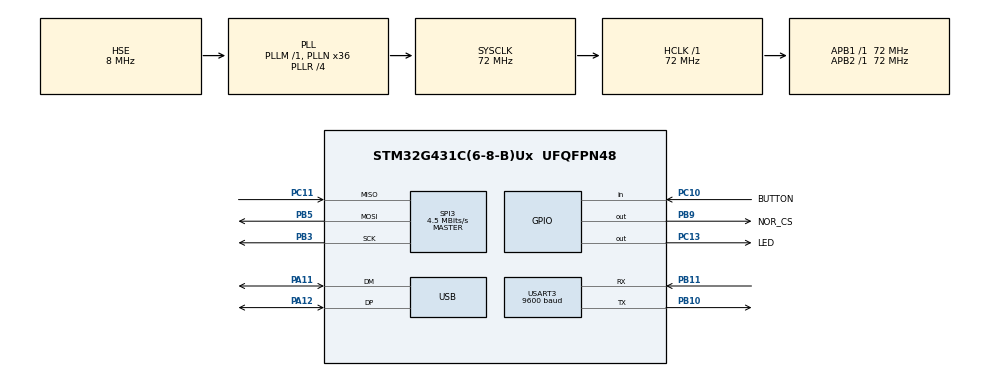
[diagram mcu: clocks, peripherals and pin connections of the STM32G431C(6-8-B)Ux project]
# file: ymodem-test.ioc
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Dma.Request0=SPI3_RX
Dma.Request1=SPI3_TX
Dma.Request2=USART3_RX
Dma.Request3=USART3_TX
Dma.SPI3_RX.0.Direction=DMA_PERIPH_TO_MEMORY
Dma.SPI3_RX.0.EventEnable=DISABLE
Dma.SPI3_RX.0.Instance=DMA1_Channel1
Dma.SPI3_RX.0.MemDataAlignment=DMA_MDATAALIGN_BYTE
Dma.SPI3_RX.0.MemInc=DMA_MINC_ENABLE
Dma.SPI3_RX.0.Mode=DMA_NORMAL
Dma.SPI3_RX.0.PeriphDataAlignment=DMA_PDATAALIGN_BYTE
Dma.SPI3_RX.0.PeriphInc=DMA_PINC_DISABLE
Dma.SPI3_RX.0.Polarity=HAL_DMAMUX_REQ_GEN_RISING
Dma.SPI3_RX.0.Priority=DMA_PRIORITY_LOW
Dma.SPI3_RX.0.RequestNumber=1
Dma.SPI3_RX.0.SignalID=NONE
Dma.SPI3_RX.0.SyncEnable=DISABLE
Dma.SPI3_RX.0.SyncPolarity=HAL_DMAMUX_SYNC_NO_EVENT
Dma.SPI3_RX.0.SyncRequestNumber=1
Dma.SPI3_RX.0.SyncSignalID=NONE
Dma.SPI3_TX.1.Direction=DMA_MEMORY_TO_PERIPH
Dma.SPI3_TX.1.EventEnable=DISABLE
Dma.SPI3_TX.1.Instance=DMA1_Channel2
Dma.SPI3_TX.1.MemDataAlignment=DMA_MDATAALIGN_BYTE
Dma.SPI3_TX.1.MemInc=DMA_MINC_ENABLE
Dma.SPI3_TX.1.Mode=DMA_NORMAL
Dma.SPI3_TX.1.PeriphDataAlignment=DMA_PDATAALIGN_BYTE
Dma.SPI3_TX.1.PeriphInc=DMA_PINC_DISABLE
Dma.SPI3_TX.1.Polarity=HAL_DMAMUX_REQ_GEN_RISING
Dma.SPI3_TX.1.Priority=DMA_PRIORITY_LOW
Dma.SPI3_TX.1.RequestNumber=1
Dma.SPI3_TX.1.SignalID=NONE
Dma.SPI3_TX.1.SyncEnable=DISABLE
Dma.SPI3_TX.1.SyncPolarity=HAL_DMAMUX_SYNC_NO_EVENT
Dma.SPI3_TX.1.SyncRequestNumber=1
Dma.SPI3_TX.1.SyncSignalID=NONE
Dma.USART3_RX.2.Direction=DMA_PERIPH_TO_MEMORY
Dma.USART3_RX.2.EventEnable=DISABLE
Dma.USART3_RX.2.Instance=DMA1_Channel3
Dma.USART3_RX.2.MemDataAlignment=DMA_MDATAALIGN_BYTE
Dma.USART3_RX.2.MemInc=DMA_MINC_ENABLE
Dma.USART3_RX.2.Mode=DMA_NORMAL
Dma.USART3_RX.2.PeriphDataAlignment=DMA_PDATAALIGN_BYTE
Dma.USART3_RX.2.PeriphInc=DMA_PINC_DISABLE
Dma.USART3_RX.2.Polarity=HAL_DMAMUX_REQ_GEN_RISING
Dma.USART3_RX.2.Priority=DMA_PRIORITY_LOW
Dma.USART3_RX.2.RequestNumber=1
Dma.USART3_RX.2.SignalID=NONE
Dma.USART3_RX.2.SyncEnable=DISABLE
Dma.USART3_RX.2.SyncPolarity=HAL_DMAMUX_SYNC_NO_EVENT
Dma.USART3_RX.2.SyncRequestNumber=1
Dma.USART3_RX.2.SyncSignalID=NONE
Dma.USART3_TX.3.Direction=DMA_MEMORY_TO_PERIPH
Dma.USART3_TX.3.EventEnable=DISABLE
Dma.USART3_TX.3.Instance=DMA1_Channel4
Dma.USART3_TX.3.MemDataAlignment=DMA_MDATAALIGN_BYTE
Dma.USART3_TX.3.MemInc=DMA_MINC_ENABLE
Dma.USART3_TX.3.Mode=DMA_NORMAL
Dma.USART3_TX.3.PeriphDataAlignment=DMA_PDATAALIGN_BYTE
Dma.USART3_TX.3.PeriphInc=DMA_PINC_DISABLE
Dma.USART3_TX.3.Polarity=HAL_DMAMUX_REQ_GEN_RISING
Dma.USART3_TX.3.Priority=DMA_PRIORITY_LOW
Dma.USART3_TX.3.RequestNumber=1
Dma.USART3_TX.3.SignalID=NONE
Dma.USART3_TX.3.SyncEnable=DISABLE
Dma.USART3_TX.3.SyncPolarity=HAL_DMAMUX_SYNC_NO_EVENT
Dma.USART3_TX.3.SyncRequestNumber=1
Dma.USART3_TX.3.SyncSignalID=NONE
Mcu.Family=STM32G4
Mcu.Name=STM32G431C(6-8-B)Ux
Mcu.Package=UFQFPN48
NVIC.DMA1_Channel1_IRQn=true\:5\:0\:true\:false\:true\:false\:true\:true
NVIC.DMA1_Channel2_IRQn=true\:5\:0\:true\:false\:true\:false\:true\:true
NVIC.DMA1_Channel3_IRQn=true\:5\:0\:true\:false\:true\:false\:true\:true
NVIC.DMA1_Channel4_IRQn=true\:5\:0\:true\:false\:true\:false\:true\:true
NVIC.PriorityGroup=NVIC_PRIORITYGROUP_4
NVIC.SPI3_IRQn=true\:5\:0\:true\:false\:true\:true\:true\:true
NVIC.TIM8_UP_IRQn=true\:15\:0\:false\:false\:true\:false\:true\:true
NVIC.TimeBase=TIM8_UP_IRQn
NVIC.TimeBaseIP=TIM8
NVIC.USART3_IRQn=true\:5\:0\:true\:false\:true\:true\:true\:true
NVIC.USB_HP_IRQn=true\:5\:0\:true\:false\:true\:true\:true\:true
NVIC.USB_LP_IRQn=true\:5\:0\:true\:false\:true\:true\:true\:true
PA11.Mode=Device
PA11.Signal=USB_DM
PA12.Mode=Device
PA12.Signal=USB_DP
PA13.Mode=Serial_Wire
PA13.Signal=SYS_JTMS-SWDIO
PA14.Mode=Serial_Wire
PA14.Signal=SYS_JTCK-SWCLK
PB10.Mode=Asynchronous
PB10.Signal=USART3_TX
PB11.Mode=Asynchronous
PB11.Signal=USART3_RX
PB3.Mode=Full_Duplex_Master
PB3.Signal=SPI3_SCK
PB5.Mode=Full_Duplex_Master
PB5.Signal=SPI3_MOSI
PB9.GPIO_Label=NOR_CS
PB9.GPIO_Speed=GPIO_SPEED_FREQ_VERY_HIGH
PB9.PinState=GPIO_PIN_SET
PB9.Signal=GPIO_Output
PC10.GPIO_Label=BUTTON
PC10.Signal=GPIO_Input
PC11.Mode=Full_Duplex_Master
PC11.Signal=SPI3_MISO
PC13.GPIO_Label=LED
PC13.Signal=GPIO_Output
PC14-OSC32_IN.Mode=LSE-External-Oscillator
PC14-OSC32_IN.Signal=RCC_OSC32_IN
PC15-OSC32_OUT.Mode=LSE-External-Oscillator
PC15-OSC32_OUT.Signal=RCC_OSC32_OUT
PF0-OSC_IN.Mode=HSE-External-Oscillator
PF0-OSC_IN.Signal=RCC_OSC_IN
PF1-OSC_OUT.Mode=HSE-External-Oscillator
PF1-OSC_OUT.Signal=RCC_OSC_OUT
ProjectManager.HeapSize=0x200
ProjectManager.StackSize=0x400
ProjectManager.TargetToolchain=STM32CubeIDE
RCC.ADC12Freq_Value=72000000
RCC.AHBFreq_Value=72000000
RCC.APB1Freq_Value=72000000
RCC.APB1TimFreq_Value=72000000
RCC.APB2Freq_Value=72000000
RCC.APB2TimFreq_Value=72000000
RCC.CortexFreq_Value=72000000
RCC.EXTERNAL_CLOCK_VALUE=12288000
RCC.HCLKFreq_Value=72000000
RCC.HSE_VALUE=8000000
RCC.HSI48_VALUE=48000000
RCC.HSI_VALUE=16000000
RCC.PLLN=36
RCC.PLLQ=RCC_PLLQ_DIV6
RCC.PLLR=RCC_PLLR_DIV4
RCC.PLLSourceVirtual=RCC_PLLSOURCE_HSE
RCC.SYSCLKFreq_VALUE=72000000
RCC.SYSCLKSource=RCC_SYSCLKSOURCE_PLLCLK
RCC.USBFreq_Value=48000000
RCC.VCOOutputFreq_Value=288000000
SPI3.BaudRatePrescaler=SPI_BAUDRATEPRESCALER_16
SPI3.CalculateBaudRate=4.5 MBits/s
SPI3.Direction=SPI_DIRECTION_2LINES
SPI3.Mode=SPI_MODE_MASTER
SPI3.VirtualType=VM_MASTER
USART3.BaudRate=9600
USART3.VirtualMode-Asynchronous=VM_ASYNC
USB_DEVICE.CLASS_NAME_FS=CDC
USB_DEVICE.MANUFACTURER_STRING=Ourobors
USB_DEVICE.PID_CDC_FS=0x5740
USB_DEVICE.PRODUCT_STRING_CDC_FS=YMODEM Test
USB_DEVICE.VID=0x483
USB_DEVICE.VirtualMode=Cdc
USB_DEVICE.VirtualModeFS=Cdc_FS
VP_SYS_VS_DBSignals.Mode=DisableDeadBatterySignals
VP_SYS_VS_tim8.Mode=TIM8
VP_USB_DEVICE_VS_USB_DEVICE_CDC_FS.Mode=CDC_FS
board=custom

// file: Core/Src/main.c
/* USER CODE BEGIN Header */
/**
  ******************************************************************************
  * @file           : main.c
  * @brief          : Main program body
  ******************************************************************************
  * @attention
  *
  * Copyright (c) 2025 STMicroelectronics.
  * All rights reserved.
  *
  * This software is licensed under terms that can be found in the LICENSE file
  * in the root directory of this software component.
  * If no LICENSE file comes with this software, it is provided AS-IS.
  *
  ******************************************************************************
  */
/* USER CODE END Header */
#include "main.h"
#include "usb_device.h"

/* USER CODE BEGIN Includes */
#include <stdint.h>
#include <stdbool.h>

#include "ymodem.h"

#include "FreeRTOS.h"
#include "task.h"
#include "semphr.h"
#include "queue.h"
#include "timers.h"
/* USER CODE END Includes */

/* USER CODE BEGIN PTD */
typedef struct{
	bool fileIsOpen;

	ymodem_t Ymodem;

	TaskHandle_t task;
	QueueHandle_t RxQueue;
	SemaphoreHandle_t TxSemaphore;
	TimerHandle_t RstTimer;
	bool started;
}receive_file_t;

typedef struct{
	uint8_t raw[64];
	uint16_t len;
}rec_data_t;
/* USER CODE END PTD */

SPI_HandleTypeDef hspi3;
DMA_HandleTypeDef hdma_spi3_rx;
DMA_HandleTypeDef hdma_spi3_tx;

UART_HandleTypeDef huart3;
DMA_HandleTypeDef hdma_usart3_rx;
DMA_HandleTypeDef hdma_usart3_tx;

/* USER CODE BEGIN PV */
receive_file_t _RecFile = {0};
uint8_t data;
uint32_t recBytes = 0;
/* USER CODE END PV */

void SystemClock_Config(void);
static void MX_GPIO_Init(void);
static void MX_DMA_Init(void);
static void MX_SPI3_Init(void);
static void MX_USART3_UART_Init(void);

/* USER CODE BEGIN 0 */
/* UART Callbacks */
void HAL_UART_TxCpltCallback(UART_HandleTypeDef *huart){
	BaseType_t taskWoken = pdFALSE;

	xSemaphoreGiveFromISR(_RecFile.TxSemaphore, &taskWoken);
}

void HAL_UART_RxCpltCallback(UART_HandleTypeDef *huart){
	BaseType_t taskWoken = pdFALSE;

	if (_RecFile.started == false){
		return;
	}
	if (xQueueSendFromISR(_RecFile.RxQueue, &data, &taskWoken) != pdTRUE){
		// lost byte
	}
	HAL_UART_Receive_DMA(&huart3, &data, sizeof(data));
	recBytes++;
}

/* Ymodem callback */
ymodem_err_e ymodem_FileCallback(ymodem_t *ymodem, ymodem_file_cb_e e, uint8_t *data, uint32_t len){
	char *FileName;

	switch (e){
	case YMODEM_FILE_CB_NAME:
		if (_RecFile.fileIsOpen == false){
			_RecFile.fileIsOpen = true;
		}
		break;

	case YMODEM_FILE_CB_DATA:
		break;

	case YMODEM_FILE_CB_END:
	case YMODEM_FILE_CB_ABORTED:
		if (_RecFile.fileIsOpen == true){
			_RecFile.fileIsOpen  = false;
		}
		break;
	}

	return YMODEM_OK;
}

/* Reset Timer */
void _RecFile_Abort_Timeout(TimerHandle_t xTimer){
	ymodem_Reset(&_RecFile.Ymodem);
}

/* Uart Tx Aux function */
uint8_t _uart_tx(uint8_t *data, uint32_t len){
	HAL_UART_Transmit(&huart3, data, len, 100);
	return 0;
}

/* Task */
void task_receive_file(void *pvParams){
	uint8_t RecData;
	ymodem_err_e ymodemRet;
	BaseType_t queueRet;

	_RecFile.TxSemaphore = xSemaphoreCreateBinary();
	_RecFile.RxQueue = xQueueCreate(512, sizeof(data));
	_RecFile.RstTimer = xTimerCreate("Reset Ymodem",
									 pdMS_TO_TICKS(1500),
									 pdFALSE,
									 NULL,
									 _RecFile_Abort_Timeout);
	ymodem_Init(&_RecFile.Ymodem, _uart_tx);
	HAL_UART_Receive_DMA(&huart3, &data, sizeof(data));
	_RecFile.started = true;
	while(1) {
		queueRet = xQueueReceive(_RecFile.RxQueue, &RecData, pdMS_TO_TICKS(1000));
		if (queueRet == pdTRUE){
			if (xTimerIsTimerActive(_RecFile.RstTimer) != pdFALSE){
				xTimerStart(_RecFile.RstTimer, 0);
			}
			else{
				xTimerReset(_RecFile.RstTimer, 0);
			}

			ymodemRet = ymodem_ReceiveByte(&_RecFile.Ymodem, RecData);
			switch (ymodemRet){
			case YMODEM_OK:

				break;
			case YMODEM_TX_PENDING:

				break;
			case YMODEM_ABORTED:
				ymodem_Reset(&_RecFile.Ymodem);
				break;
			case YMODEM_WRITE_ERR:
				ymodem_Reset(&_RecFile.Ymodem);
				break;
			case YMODEM_SIZE_ERR:
				ymodem_Reset(&_RecFile.Ymodem);
				break;
			case YMODEM_COMPLETE:
				ymodem_Reset(&_RecFile.Ymodem);
				break;
			}
		}
		else{
			uint8_t d = 'C';
			_uart_tx(&d, sizeof(d));
		}
	}
}

/* USER CODE END 0 */

int main(void)
{

  /* USER CODE BEGIN 1 */
	char welcome[] = "Device is ready!\n";
  /* USER CODE END 1 */

  /* MCU Configuration--------------------------------------------------------*/

  /* Reset of all peripherals, Initializes the Flash interface and the Systick. */
  HAL_Init();

  /* Configure the system clock */
  SystemClock_Config();

  /* Initialize all configured peripherals */
  MX_GPIO_Init();
  MX_DMA_Init();
  MX_SPI3_Init();
  MX_USB_Device_Init();
  MX_USART3_UART_Init();
  /* USER CODE BEGIN 2 */
  HAL_Delay(1000);
  HAL_UART_Transmit(&huart3, (uint8_t*)welcome, strlen(welcome), 100);
  HAL_Delay(200);

  xTaskCreate(task_receive_file, "File Receive", 512, NULL, 1, NULL);

  vTaskStartScheduler();
  /* USER CODE END 2 */

  /* Infinite loop */
  while (1)
  {

  }
}

void SystemClock_Config(void)
{
  RCC_OscInitTypeDef RCC_OscInitStruct = {0};
  RCC_ClkInitTypeDef RCC_ClkInitStruct = {0};

  /** Configure the main internal regulator output voltage
  */
  HAL_PWREx_ControlVoltageScaling(PWR_REGULATOR_VOLTAGE_SCALE1);

  /** Initializes the RCC Oscillators according to the specified parameters
  * in the RCC_OscInitTypeDef structure.
  */
  RCC_OscInitStruct.OscillatorType = RCC_OSCILLATORTYPE_HSE;
  RCC_OscInitStruct.HSEState = RCC_HSE_ON;
  RCC_OscInitStruct.PLL.PLLState = RCC_PLL_ON;
  RCC_OscInitStruct.PLL.PLLSource = RCC_PLLSOURCE_HSE;
  RCC_OscInitStruct.PLL.PLLM = RCC_PLLM_DIV1;
  RCC_OscInitStruct.PLL.PLLN = 36;
  RCC_OscInitStruct.PLL.PLLP = RCC_PLLP_DIV2;
  RCC_OscInitStruct.PLL.PLLQ = RCC_PLLQ_DIV6;
  RCC_OscInitStruct.PLL.PLLR = RCC_PLLR_DIV4;
  if (HAL_RCC_OscConfig(&RCC_OscInitStruct) != HAL_OK)
  {
    Error_Handler();
  }

  /** Initializes the CPU, AHB and APB buses clocks
  */
  RCC_ClkInitStruct.ClockType = RCC_CLOCKTYPE_HCLK|RCC_CLOCKTYPE_SYSCLK
                              |RCC_CLOCKTYPE_PCLK1|RCC_CLOCKTYPE_PCLK2;
  RCC_ClkInitStruct.SYSCLKSource = RCC_SYSCLKSOURCE_PLLCLK;
  RCC_ClkInitStruct.AHBCLKDivider = RCC_SYSCLK_DIV1;
  RCC_ClkInitStruct.APB1CLKDivider = RCC_HCLK_DIV1;
  RCC_ClkInitStruct.APB2CLKDivider = RCC_HCLK_DIV1;

  if (HAL_RCC_ClockConfig(&RCC_ClkInitStruct, FLASH_LATENCY_2) != HAL_OK)
  {
    Error_Handler();
  }
}

static void MX_SPI3_Init(void)
{

  /* SPI3 parameter configuration*/
  hspi3.Instance = SPI3;
  hspi3.Init.Mode = SPI_MODE_MASTER;
  hspi3.Init.Direction = SPI_DIRECTION_2LINES;
  hspi3.Init.DataSize = SPI_DATASIZE_4BIT;
  hspi3.Init.CLKPolarity = SPI_POLARITY_LOW;
  hspi3.Init.CLKPhase = SPI_PHASE_1EDGE;
  hspi3.Init.NSS = SPI_NSS_SOFT;
  hspi3.Init.BaudRatePrescaler = SPI_BAUDRATEPRESCALER_16;
  hspi3.Init.FirstBit = SPI_FIRSTBIT_MSB;
  hspi3.Init.TIMode = SPI_TIMODE_DISABLE;
  hspi3.Init.CRCCalculation = SPI_CRCCALCULATION_DISABLE;
  hspi3.Init.CRCPolynomial = 7;
  hspi3.Init.CRCLength = SPI_CRC_LENGTH_DATASIZE;
  hspi3.Init.NSSPMode = SPI_NSS_PULSE_ENABLE;
  if (HAL_SPI_Init(&hspi3) != HAL_OK)
  {
    Error_Handler();
  }

}

static void MX_USART3_UART_Init(void)
{

  huart3.Instance = USART3;
  huart3.Init.BaudRate = 9600;
  huart3.Init.WordLength = UART_WORDLENGTH_8B;
  huart3.Init.StopBits = UART_STOPBITS_1;
  huart3.Init.Parity = UART_PARITY_NONE;
  huart3.Init.Mode = UART_MODE_TX_RX;
  huart3.Init.HwFlowCtl = UART_HWCONTROL_NONE;
  huart3.Init.OverSampling = UART_OVERSAMPLING_16;
  huart3.Init.OneBitSampling = UART_ONE_BIT_SAMPLE_DISABLE;
  huart3.Init.ClockPrescaler = UART_PRESCALER_DIV1;
  huart3.AdvancedInit.AdvFeatureInit = UART_ADVFEATURE_NO_INIT;
  if (HAL_UART_Init(&huart3) != HAL_OK)
  {
    Error_Handler();
  }
  if (HAL_UARTEx_SetTxFifoThreshold(&huart3, UART_TXFIFO_THRESHOLD_1_8) != HAL_OK)
  {
    Error_Handler();
  }
  if (HAL_UARTEx_SetRxFifoThreshold(&huart3, UART_RXFIFO_THRESHOLD_1_8) != HAL_OK)
  {
    Error_Handler();
  }
  if (HAL_UARTEx_DisableFifoMode(&huart3) != HAL_OK)
  {
    Error_Handler();
  }

}

static void MX_DMA_Init(void)
{

  /* DMA controller clock enable */
  __HAL_RCC_DMAMUX1_CLK_ENABLE();
  __HAL_RCC_DMA1_CLK_ENABLE();

  /* DMA interrupt init */
  /* DMA1_Channel1_IRQn interrupt configuration */
  HAL_NVIC_SetPriority(DMA1_Channel1_IRQn, 5, 0);
  HAL_NVIC_EnableIRQ(DMA1_Channel1_IRQn);
  /* DMA1_Channel2_IRQn interrupt configuration */
  HAL_NVIC_SetPriority(DMA1_Channel2_IRQn, 5, 0);
  HAL_NVIC_EnableIRQ(DMA1_Channel2_IRQn);
  /* DMA1_Channel3_IRQn interrupt configuration */
  HAL_NVIC_SetPriority(DMA1_Channel3_IRQn, 5, 0);
  HAL_NVIC_EnableIRQ(DMA1_Channel3_IRQn);
  /* DMA1_Channel4_IRQn interrupt configuration */
  HAL_NVIC_SetPriority(DMA1_Channel4_IRQn, 5, 0);
  HAL_NVIC_EnableIRQ(DMA1_Channel4_IRQn);

}

static void MX_GPIO_Init(void)
{
  GPIO_InitTypeDef GPIO_InitStruct = {0};

  /* GPIO Ports Clock Enable */
  __HAL_RCC_GPIOC_CLK_ENABLE();
  __HAL_RCC_GPIOF_CLK_ENABLE();
  __HAL_RCC_GPIOB_CLK_ENABLE();
  __HAL_RCC_GPIOA_CLK_ENABLE();

  /*Configure GPIO pin Output Level */
  HAL_GPIO_WritePin(LED_GPIO_Port, LED_Pin, GPIO_PIN_RESET);

  /*Configure GPIO pin Output Level */
  HAL_GPIO_WritePin(NOR_CS_GPIO_Port, NOR_CS_Pin, GPIO_PIN_SET);

  /*Configure GPIO pin : LED_Pin */
  GPIO_InitStruct.Pin = LED_Pin;
  GPIO_InitStruct.Mode = GPIO_MODE_OUTPUT_PP;
  GPIO_InitStruct.Pull = GPIO_NOPULL;
  GPIO_InitStruct.Speed = GPIO_SPEED_FREQ_LOW;
  HAL_GPIO_Init(LED_GPIO_Port, &GPIO_InitStruct);

  /*Configure GPIO pin : BUTTON_Pin */
  GPIO_InitStruct.Pin = BUTTON_Pin;
  GPIO_InitStruct.Mode = GPIO_MODE_INPUT;
  GPIO_InitStruct.Pull = GPIO_NOPULL;
  HAL_GPIO_Init(BUTTON_GPIO_Port, &GPIO_InitStruct);

  /*Configure GPIO pin : NOR_CS_Pin */
  GPIO_InitStruct.Pin = NOR_CS_Pin;
  GPIO_InitStruct.Mode = GPIO_MODE_OUTPUT_PP;
  GPIO_InitStruct.Pull = GPIO_NOPULL;
  GPIO_InitStruct.Speed = GPIO_SPEED_FREQ_VERY_HIGH;
  HAL_GPIO_Init(NOR_CS_GPIO_Port, &GPIO_InitStruct);

}

void HAL_TIM_PeriodElapsedCallback(TIM_HandleTypeDef *htim)
{
  if (htim->Instance == TIM8)
  {
    HAL_IncTick();
  }
}

void Error_Handler(void)
{
  __disable_irq();
  while (1)
  {
  }
}
